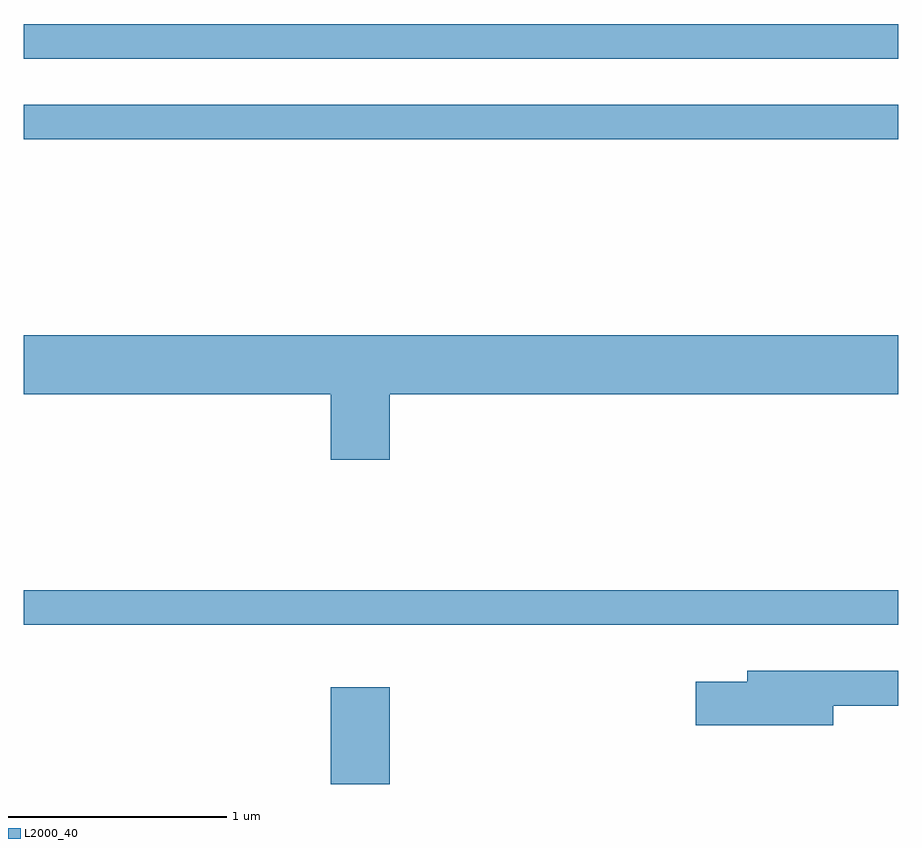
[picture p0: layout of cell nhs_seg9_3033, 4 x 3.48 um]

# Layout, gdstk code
import gdstk
lib = gdstk.Library(unit=1e-6, precision=1e-09)
def R(c, l, rs):  # rectangles x0, y0, x1, y1
    for r in rs: c.add(gdstk.rectangle(r[:2], r[2:], *l))
def P(c, l, *ps):  # polygons
    for p in ps: c.add(gdstk.Polygon(p, *l))
L2000_40 = (2000, 40)

nhs_seg9_3033 = lib.new_cell('nhs_seg9_3033')
R(nhs_seg9_3033, L2000_40, [(275.016,2034.432,275.284,2034.874), (273.611,2035.161,277.611,2035.319), (273.611,2037.381,277.611,2037.539), (273.611,2037.751,277.611,2037.909)])
P(nhs_seg9_3033, L2000_40, [(275.284,2036.216),(277.611,2036.216),(277.611,2036.484),(273.611,2036.484),(273.611,2036.216),(275.016,2036.216),(275.016,2035.916),(275.284,2035.916)],
  [(277.314,2034.791),(277.611,2034.791),(277.611,2034.949),(276.921,2034.949),(276.921,2034.899),(276.686,2034.899),(276.686,2034.701),(277.314,2034.701)])

lib.write_gds('nhs_seg9_3033.gds')
